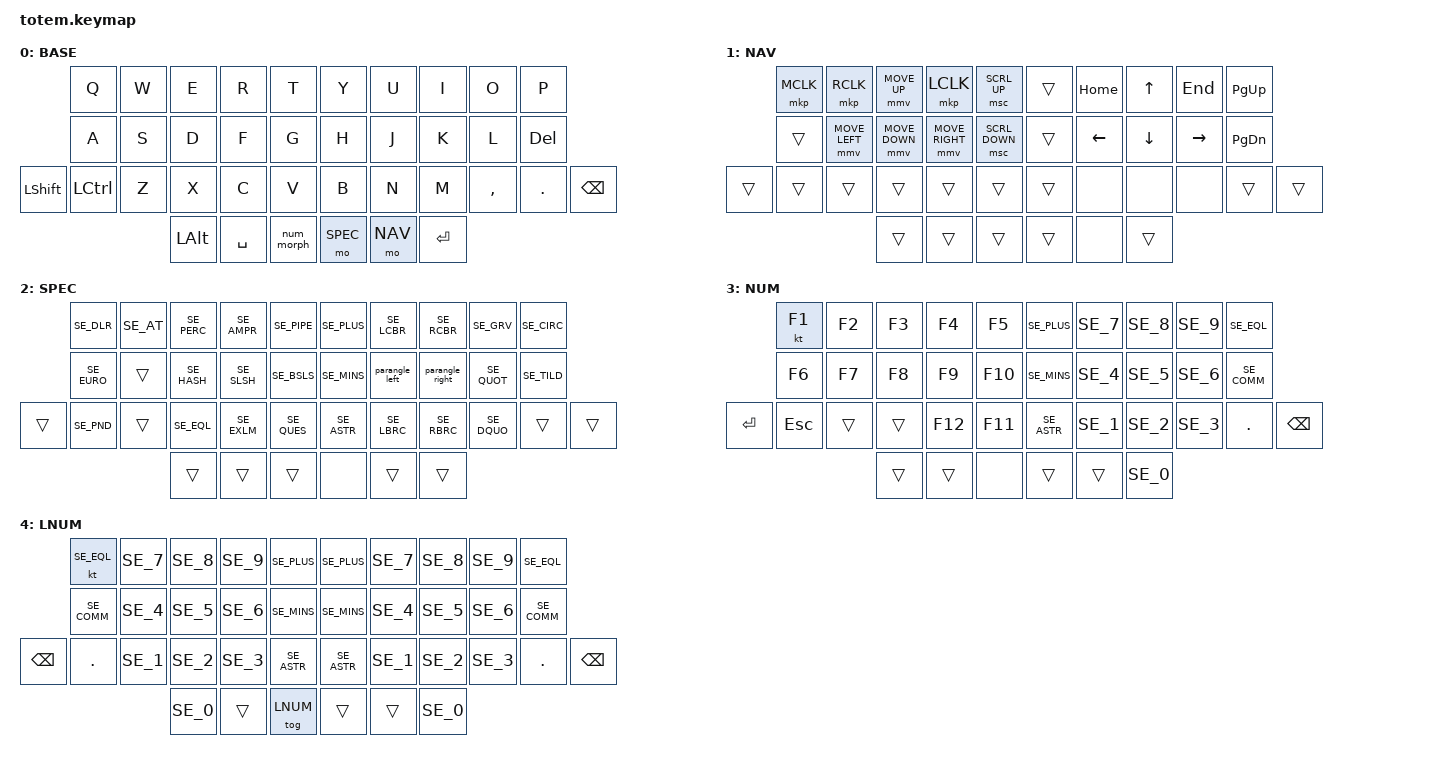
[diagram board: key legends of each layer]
//
//                                                        ▀▀▀▀▀     ▀▀▀▀▀          ▀▀█▀▀
//                                                        ▄▀▀▀▄  ▄  ▄▀▀▀▄  ▄  ▄▀▀▀▄  █  ▄▀▀▀▄
//                                                        █   █  █  █   █  █  █   █  █  █   █
//                                                         ▀▀▀   █   ▀▀▀   █   ▀▀▀   ▀   ▀▀▀
//                                                               █      ▄▄▄█▄▄▄    █   █  
//                                                               ▀      █  █  █     █▄█
//                                                             ▀▀▀▀▀    █  █  █      ▀
//                                                                      ▀  ▀  ▀
//
// ▄▄▄▄▄▄▄▄▄▄▄▄▄▄▄▄▄▄▄▄▄▄▄▄▄▄▄▄▄▄▄▄▄▄▄▄▄▄▄▄▄▄▄▄▄▄▄▄▄▄▄▄▄▄▄▄▄▄▄▄▄▄▄▄▄▄▄▄▄▄▄▄▄▄▄▄▄▄▄▄▄▄▄▄▄▄▄▄▄▄▄▄▄▄▄▄▄▄▄▄▄▄▄▄▄▄▄▄▄▄▄▄▄▄▄▄▄▄▄▄▄▄▄▄▄▄▄▄▄▄▄▄▄▄▄▄▄▄▄▄▄▄▄▄▄▄▄▄▄

#include <behaviors.dtsi>
#include <dt-bindings/zmk/keys.h>
#include <dt-bindings/zmk/pointing.h>
#include "keymap_swedish.h"

#define ZMK_POINTING_DEFAULT_MOVE_VAL 1500  // default: 600

#define DEFAULT 0
#define NAV 1
#define SPEC 2
#define NUM 3
#define LNUM 4

&mt {
    quick-tap-ms = <100>;
    global-quick-tap;
    flavor = "tap-preferred";
    tapping-term-ms = <170>;
};

/ {

    behaviors {
    
        parangle_left: angle_morph_left {
            compatible = "zmk,behavior-mod-morph";
            #binding-cells = <0>;
            bindings = <&kp SE_LPRN>, <&kp SE_LABK>; 
            mods = <(MOD_LSFT)>;
         };

        parangle_right: angle_morph_right {
            compatible = "zmk,behavior-mod-morph";
            #binding-cells = <0>;
            bindings = <&kp SE_RPRN>, <&kp SE_RABK>; 
            mods = <(MOD_LSFT)>;
         };

        num_morph: num_morph_right_left {
            compatible = "zmk,behavior-mod-morph";
            #binding-cells = <0>;
            bindings = <&mo NUM>, <&tog LNUM>; 
            mods = <(MOD_LCTL)>;
         };
    };

    combos {
        compatible = "zmk,combos";

        // Q + W = Tab      
        tab {
            timeout-ms = <50>;
            key-positions = <0 1>;
            bindings = <&kp TAB>;
            layers = <0>;
        };

        // Q + Space = Enter
        // enter {
        //    timeout-ms = <50>;
        //    key-positions = <0 33>;
        //    bindings = <&kp ENTER>;
        //    layers = <0>;
        // };

        // CTRL + Space = Super
        Win {
            bindings = <&kp LEFT_WIN>;
            key-positions = <21 33>;
            slow-release;
            layers = <0>;
        };

        // R + T = esc
        // escape {
        //    timeout-ms = <50>;
        //    bindings = <&kp ESC>;
        //    key-positions = <3 4>;
        // };

        // I + O = Å
        arng {
            timeout-ms = <50>;
            bindings = <&kp SE_ARNG>;
            key-positions = <6 7 8>;
            layers = <0>;
        };

        // K + L = Ä
        adia {
            timeout-ms = <50>;
            bindings = <&kp SE_ADIA>;
            key-positions = <16 17 18>;
            layers = <0>;
        };

        // M + , = Ö
        odia {
            timeout-ms = <50>;
            bindings = <&kp SE_ODIA>;
            key-positions = <27 28 29>;
            layers = <0>;
        };
    };

    keymap {
        compatible = "zmk,keymap";

        base_layer {
            label = "BASE";
            bindings = <
           &kp Q             &kp W  &kp E     &kp R      &kp T           &kp Y     &kp U    &kp I      &kp O      &kp P
           &kp A             &kp S  &kp D     &kp F      &kp G           &kp H     &kp J    &kp K      &kp L      &kp DEL
&kp LSHFT  &kp LEFT_CONTROL  &kp Z  &kp X     &kp C      &kp V           &kp B     &kp N    &kp M      &kp COMMA  &kp DOT  &kp BSPC
                                    &kp LALT  &kp SPACE  &num_morph      &mo SPEC  &mo NAV  &kp ENTER
            >;
        };

        navigation_layer {
            bindings = <
        &mkp MCLK  &mkp RCLK       &mmv MOVE_UP    &mkp LCLK        &msc SCRL_UP        &trans  &kp HOME  &kp UP    &kp END    &kp PAGE_UP
        &trans     &mmv MOVE_LEFT  &mmv MOVE_DOWN  &mmv MOVE_RIGHT  &msc SCRL_DOWN      &trans  &kp LEFT  &kp DOWN  &kp RIGHT  &kp PAGE_DOWN
&trans  &trans     &trans          &trans          &trans           &trans              &trans  &none     &none     &none      &trans         &trans
                                   &trans          &trans           &trans              &trans  &none     &trans
            >;

            label = "NAV";
        };

        special_layer {
            bindings = <
        &kp SE_DLR   &kp SE_AT  &kp SE_PERC  &kp SE_AMPR  &kp SE_PIPE      &kp SE_PLUS  &kp SE_LCBR     &kp SE_RCBR      &kp SE_GRV   &kp SE_CIRC
        &kp SE_EURO  &trans     &kp SE_HASH  &kp SE_SLSH  &kp SE_BSLS      &kp SE_MINS  &parangle_left  &parangle_right  &kp SE_QUOT  &kp SE_TILD
&trans  &kp SE_PND   &trans     &kp SE_EQL   &kp SE_EXLM  &kp SE_QUES      &kp SE_ASTR  &kp SE_LBRC     &kp SE_RBRC      &kp SE_DQUO  &trans       &trans       
                                     &trans       &trans       &trans      &none        &trans          &trans
            >;

            label = "SPEC";
        };

        num_layer {
            bindings = <
           &kt F1   &kp F2  &kp F3  &kp F4   &kp F5       &kp SE_PLUS  &kp SE_7  &kp SE_8  &kp SE_9  &kp SE_EQL
           &kp F6   &kp F7  &kp F8  &kp F9   &kp F10      &kp SE_MINS  &kp SE_4  &kp SE_5  &kp SE_6  &kp SE_COMM
&kp ENTER  &kp ESC  &trans  &trans  &kp F12  &kp F11      &kp SE_ASTR  &kp SE_1  &kp SE_2  &kp SE_3  &kp DOT      &kp BACKSPACE
                            &trans  &trans   &none        &trans       &trans    &kp SE_0
            >;

            label = "NUM";
        };

        num_layer_left {
            bindings = <
               &kt SE_EQL   &kp SE_7  &kp SE_8  &kp SE_9  &kp SE_PLUS      &kp SE_PLUS  &kp SE_7  &kp SE_8  &kp SE_9  &kp SE_EQL
               &kp SE_COMM  &kp SE_4  &kp SE_5  &kp SE_6  &kp SE_MINS      &kp SE_MINS  &kp SE_4  &kp SE_5  &kp SE_6  &kp SE_COMM
&kp BACKSPACE  &kp DOT      &kp SE_1  &kp SE_2  &kp SE_3  &kp SE_ASTR      &kp SE_ASTR  &kp SE_1  &kp SE_2  &kp SE_3  &kp DOT      &kp BACKSPACE
                                      &kp SE_0  &trans    &tog LNUM        &trans       &trans    &kp SE_0
            >;

            label = "LNUM";
        };
    };
};
